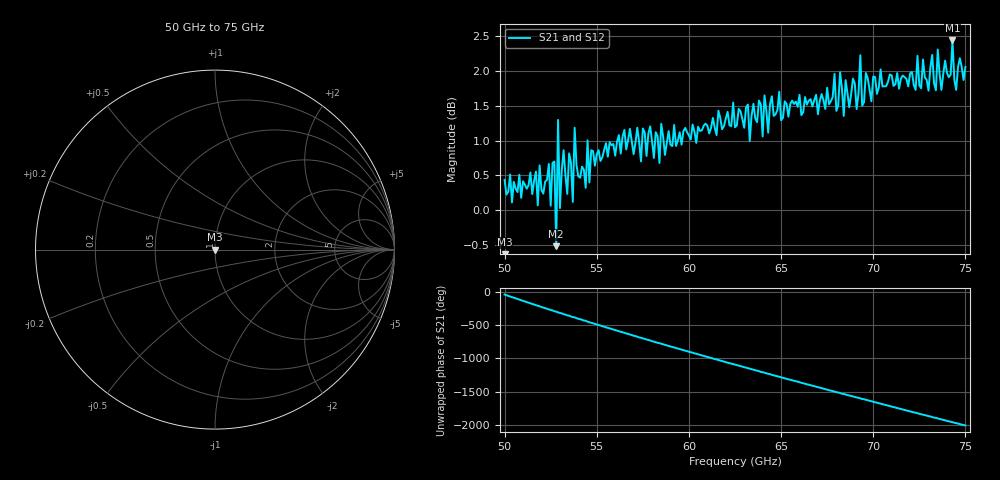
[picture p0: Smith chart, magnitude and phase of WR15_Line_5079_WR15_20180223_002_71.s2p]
# GHZ S RI R 50
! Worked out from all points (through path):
!   251 points, 50 GHz to 75 GHz, reference 50 ohm
!   highest |S21| = 2.44 dB at 74.3 GHz (marker M1); lowest = -0.5 dB at 52.8 GHz (marker M2)
!   lowest |S11| = - dB at 50 GHz (marker M3), VSWR 1.00, Z = 50 - j1.28e-16 ohm
!   |S11| at or under -10 dB: start of sweep to end of sweep
!   |S22| runs from - to - dB; largest |S21 - S12| = 1e-14
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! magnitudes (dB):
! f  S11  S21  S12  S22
! 50 GHz  -  0.4  0.4  -
! 52.4 GHz  -  0.7  0.7  -
! 52.5 GHz  -  0.1  0.1  -
! 52.7 GHz  -  0.7  0.7  -
! 52.8 GHz  -  -0.5  -0.5  -
! 52.9 GHz  -  1.3  1.3  -
! 53 GHz  -  0.0  0.0  -
! 53.2 GHz  -  0.9  0.9  -
! 53.7 GHz  -  0.1  0.1  -
! 53.8 GHz  -  1.2  1.2  -
! 54.2 GHz  -  0.6  0.6  -
! 58.4 GHz  -  0.7  0.7  -
! 58.5 GHz  -  1.2  1.2  -
! 62.5 GHz  -  1.2  1.2  -
! 66.7 GHz  -  1.5  1.5  -
! 70.9 GHz  -  2.0  2.0  -
! 73.4 GHz  -  1.7  1.7  -
! 73.5 GHz  -  2.3  2.3  -
! 73.7 GHz  -  1.7  1.7  -
! 74.3 GHz  -  2.4  2.4  -
! 74.5 GHz  -  1.7  1.7  -
! 75 GHz  -  2.1  2.1  -
